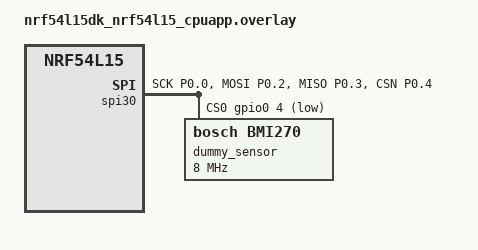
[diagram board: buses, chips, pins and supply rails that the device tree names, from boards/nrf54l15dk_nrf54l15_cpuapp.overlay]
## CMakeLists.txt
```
# SPDX-License-Identifier: Apache-2.0

cmake_minimum_required(VERSION 3.20.0)

find_package(Zephyr REQUIRED HINTS $ENV{ZEPHYR_BASE})
project(accel_power_receiver)

target_sources(app PRIVATE src/main.c src/spim_dppi.c src/sensor_none.c)
target_sources_ifdef(CONFIG_APP_ACQ_CPU app PRIVATE src/cpu_path.c)
```

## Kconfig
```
# Copyright (c) 2026
# SPDX-License-Identifier: Apache-2.0

menu "Accelerometer power test: SPI burst triggered by a data-ready pin (GPIOTE)"

config APP_DRDY_PIN
	int "Data-ready input: pin number on port P0 (GPIOTE30, LP domain)"
	default 1

config APP_BURST_LEN
	int "SPI burst length in bytes per sample"
	default 11
	range 2 64
	help
	  Generic accelerometer read: address byte, then status and the X/Y/Z data (11 bytes in total).
	  Wire time at 8 MHz: 11 x 8 / 8 MHz = 11 us, plus the chip-select timing.

choice APP_ACQ_MODE
	prompt "How the samples are acquired"
	default APP_ACQ_DPPI_DRAIN

config APP_ACQ_CPU
	bool "CPU in the loop: data-ready interrupt -> thread -> SPI transfer per sample"
	help
	  The conventional design. Every data-ready edge raises a GPIOTE interrupt, which
	  wakes a thread that runs one SPI transfer, sleeps until it ends and queues the burst.

config APP_ACQ_DPPI_PERSAMPLE
	bool "DPPI start, one SPIM END interrupt per sample"
	select APP_PER_SAMPLE_IRQ
	help
	  data-ready (GPIOTE IN) -> DPPI -> SPIM START with EasyDMA. The core wakes once
	  per sample, only to copy the burst into the queue.

config APP_ACQ_DPPI_DRAIN
	bool "DPPI start, EasyDMA ring, drained every APP_DRAIN_PERIOD_US"
	help
	  data-ready (GPIOTE IN) -> DPPI -> SPIM START, bursts land in a ring on their own and
	  a thread moves them to the queue in batches. The core wakes once per drain period.

endchoice

config APP_PER_SAMPLE_IRQ
	bool

config APP_DRAIN_PERIOD_US
	int "Drain period in microseconds"
	default 20000
	range 100 1000000
	help
	  A thread wakes up every period, reads the EasyDMA pointer and pushes the slots that
	  arrived into the message queue; once per lap it also arms the ring wrap.

config APP_RING_SLOTS
	int "Ring size in samples"
	default 4096
	range 8 4096
	help
	  The wrap is armed once the DMA is past half of the ring, so the ring must hold at
	  least two drain periods of samples (ring >= 2 x rate x period).

config APP_WRAP_AWAKE_BELOW_US
	int "Wait awake for the wrap when the sample period is below this (us)"
	default 64
	range 0 10000
	depends on !APP_PER_SAMPLE_IRQ && !APP_ACQ_CPU

config APP_QUEUE_DEPTH
	int "Message queue depth in samples"
	default 7000
	help
	  Must hold one report period of samples (rate x APP_REPORT_PERIOD_MS).

config APP_QUEUE_FRESH_ONLY
	bool "Drop repeated samples before queueing"
	default n

config APP_SPI_FREQ_HZ
	int "SPIM clock frequency in Hz"
	default 8000000
	help
	  SPIM30 has a 16 MHz core and a prescaler of 2 or more, so 8 MHz is its maximum.

config APP_SPI_CSN_DURATION
	int "IFTIMING.CSNDUR: CSN-to-SCK delay and CSN inactive time, in 64 MHz clock cycles (15.625 ns)"
	default 2
	range 1 255

config APP_SPI_RX_DELAY
	int "IFTIMING.RXDELAY: MISO sample delay (-1 = driver default)"
	default 1
	range -1 7

config APP_WRAP_ON_STARTED
	bool "Arm the wrap on SPIM STARTED instead of DMA.RX.READY on nRF54L"
	default n

config APP_RRAM_STANDBY
	bool "Keep the RRAM in standby instead of power-down during idle (nRF54L)"
	depends on HAS_HW_NRF_RRAMC
	default n

config APP_WRAP_LATENCY_STATS
	bool "Measure the delivering ISR latency (unused here)"
	default n

config APP_REQUEST_HFXO
	bool "Request the HFXO"
	default n
	depends on CLOCK_CONTROL_NRF
	help
	  Off: the request is never released, so the crystal would burn current in every mode.

config APP_CSNDUR_SWEEP
	string "Comma-separated CSNDUR values to sweep at run time (empty = no sweep)"
	default ""
	help
	  Each value is applied for APP_CSNDUR_WINDOW_MS and one summary line is logged:
	  queued bursts, bursts that did not match the slave pattern, and the window length.

config APP_CSNDUR_WINDOW_MS
	int "Sweep window in milliseconds"
	default 6000

config APP_REPORT_PERIOD_MS
	int "Report period in milliseconds"
	default 100

endmenu

source "Kconfig.zephyr"
```

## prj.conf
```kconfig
CONFIG_GPIO=y
CONFIG_PINCTRL=y
CONFIG_LOG=y
CONFIG_CBPRINTF_FP_SUPPORT=y

# nrfx 4.0 (NCS 3.4.x): per-driver symbols only; instances come from devicetree
CONFIG_NRFX_SPIM=y
CONFIG_NRFX_GPIOTE=y
CONFIG_NRFX_GPPI=y

# The SPI bus is driven directly with nrfx: keep the Zephyr SPI and sensor drivers away from it.
CONFIG_SPI=n
CONFIG_SENSOR=n
CONFIG_I2C=n
CONFIG_MAIN_STACK_SIZE=4096

# Log over SEGGER RTT; no UART, so the log adds no current of its own
CONFIG_SERIAL=n
CONFIG_CONSOLE=y
CONFIG_USE_SEGGER_RTT=y
CONFIG_RTT_CONSOLE=y
CONFIG_UART_CONSOLE=n
CONFIG_LOG_BACKEND_RTT=y
CONFIG_LOG_BACKEND_RTT_MODE_DROP=y
CONFIG_SEGGER_RTT_BUFFER_SIZE_UP=4096
CONFIG_LOG_MODE_IMMEDIATE=y
```

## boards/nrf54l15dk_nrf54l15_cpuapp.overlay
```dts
/*
 * nRF54L15 DK. The data-ready pulse comes from an external rig on P0.01; an SPI slave can be
 * connected to the SPIM30 pins below (without one, MISO reads zero).
 * SPIM30 (LP domain, port P0) clocks the burst: SCK P0.00, MOSI P0.02, MISO P0.03 (pulled
 * down), CSN P0.04. The data-ready input P0.01 uses GPIOTE30, also in the LP domain, so
 * nothing from the PERI domain is needed. P0.00..P0.03 are the VCOM1 (UART30) pins of this
 * DK and P0.04 is button 3: the UART is turned off here.
 */
/ {
	chosen {
		app,accel = &dummy_sensor;
	};
};

&pinctrl {
	spi30_default: spi30_default {
		group1 {
			psels = <NRF_PSEL(SPIM_SCK, 0, 0)>,
				<NRF_PSEL(SPIM_MOSI, 0, 2)>,
				<NRF_PSEL(SPIM_MISO, 0, 3)>,
				<NRF_PSEL(SPIM_CSN, 0, 4)>;
			bias-pull-down;
		};
	};

	spi30_sleep: spi30_sleep {
		group1 {
			psels = <NRF_PSEL(SPIM_SCK, 0, 0)>,
				<NRF_PSEL(SPIM_MOSI, 0, 2)>,
				<NRF_PSEL(SPIM_MISO, 0, 3)>,
				<NRF_PSEL(SPIM_CSN, 0, 4)>;
			bias-pull-down;
			low-power-enable;
		};
	};
};

&uart30 {
	status = "disabled";
};

&spi30 {
	status = "okay";
	pinctrl-0 = <&spi30_default>;
	pinctrl-1 = <&spi30_sleep>;
	pinctrl-names = "default", "sleep";
	cs-gpios = <&gpio0 4 GPIO_ACTIVE_LOW>;

	dummy_sensor: dummy_sensor@0 {
		compatible = "bosch,bmi270";
		reg = <0>;
		spi-max-frequency = <DT_FREQ_M(8)>;
	};
};
```

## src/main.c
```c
/*
 * 04-cpu-vs-dppi - the same SPI burst at the same rate, acquired three ways:
 *
 *   APP_ACQ_CPU               GPIOTE interrupt -> thread -> SPI transfer, per sample
 *   APP_ACQ_DPPI_PERSAMPLE    GPIOTE IN -> DPPI -> SPIM START, EasyDMA, one END
 *                             interrupt per sample
 *   APP_ACQ_DPPI_DRAIN        GPIOTE IN -> DPPI -> SPIM START, EasyDMA ring,
 *                             a thread drains it every APP_DRAIN_PERIOD_US
 *
 * Measure the current of each build with the PPK2 and compare. The consumer
 * below sleeps for the whole report period and then empties the queue, so it
 * adds the same small cost in every mode and does not hide the difference.
 *
 * The sample rate is set from outside: an external rig raises the
 * data-ready pin P0.01 once per sample, like the INT pin of an accelerometer. Engine from
 * dppi_works/timer_dppi_spim (nRF Connect SDK v3.4.1).
 */
#include <zephyr/kernel.h>
#include <zephyr/logging/log.h>

#include <stdlib.h>
#include <string.h>

#include "sensor.h"
#include "spim_dppi.h"
#if defined(CONFIG_APP_ACQ_CPU)
#include "cpu_path.h"
#endif

LOG_MODULE_REGISTER(app, LOG_LEVEL_INF);

#if defined(CONFIG_APP_ACQ_CPU)
#define MODE_NAME "CPU in the loop (GPIOTE interrupt + thread + SPI transfer)"
#elif defined(CONFIG_APP_ACQ_DPPI_PERSAMPLE)
#define MODE_NAME "DPPI, one END interrupt per sample"
#else
#define MODE_NAME "DPPI, EasyDMA ring drained in batches"
#endif

static uint32_t xfers(void)
{
#if defined(CONFIG_APP_ACQ_CPU)
	return cpu_path_xfers();
#else
	return spim_dppi_total_xfers();
#endif
}

static uint32_t dropped(void)
{
#if defined(CONFIG_APP_ACQ_CPU)
	return cpu_path_dropped();
#else
	return spim_dppi_dropped();
#endif
}

int main(void)
{
	uint8_t raw[SENSOR_BURST_LEN];
	struct sensor_sample s;
	uint32_t elapsed_ms = 0, last_xfers = 0;
	int err;

	LOG_INF("05-accel-dppi-power: %s, data-ready P0.%02d, burst %u B, SPI %u Hz", MODE_NAME,
		CONFIG_APP_DRDY_PIN, SENSOR_BURST_LEN, CONFIG_APP_SPI_FREQ_HZ);

	err = spim_dppi_init();
	if (err) {
		LOG_ERR("init failed (%d)", err);
		return err;
	}
#if defined(CONFIG_APP_ACQ_CPU)
	err = cpu_path_start();
#else
	err = spim_dppi_start();
#endif
	if (err) {
		LOG_ERR("start failed (%d)", err);
		return err;
	}

#if defined(CONFIG_APP_CSNDUR_SWEEP)
	static char sweep_list[] = CONFIG_APP_CSNDUR_SWEEP;
	char *sweep_save = NULL;
	char *tok = strtok_r(sweep_list, ",", &sweep_save);
	uint32_t csndur = tok ? strtoul(tok, NULL, 10) : 0;
	uint32_t win_ms = 0, win_q = 0, win_bad0 = sensor_bad_count();

	if (tok) {
		spim_dppi_set_csndur(csndur);
	}
#endif

	while (1) {
		uint32_t n = 0, fresh = 0;
		int16_t zmin = INT16_MAX, zmax = INT16_MIN;

		k_msleep(CONFIG_APP_REPORT_PERIOD_MS);
		elapsed_ms += CONFIG_APP_REPORT_PERIOD_MS;
		while (k_msgq_get(&sample_q, raw, K_NO_WAIT) == 0) {
			sensor->decode(raw, &s);
			n++;
			fresh += s.fresh;
			zmin = MIN(zmin, s.z);
			zmax = MAX(zmax, s.z);
		}
		uint32_t x = xfers();

		LOG_INF("t=%u ms xfers/s=%u queued=%u fresh=%u dropped=%u Z raw min=%d max=%d bad=%u",
			elapsed_ms, (x - last_xfers) * 1000 / CONFIG_APP_REPORT_PERIOD_MS,
			n, fresh, dropped(), n ? zmin : 0, n ? zmax : 0, sensor_bad_count());
		last_xfers = x;
#if defined(CONFIG_APP_CSNDUR_SWEEP)
		win_ms += CONFIG_APP_REPORT_PERIOD_MS;
		win_q += n;
		if (tok && win_ms >= CONFIG_APP_CSNDUR_WINDOW_MS) {
			LOG_INF("SWEEP csndur=%u (%u ns) window_ms=%u queued=%u bad=%u", csndur,
				csndur * 1000 / 16, win_ms, win_q, sensor_bad_count() - win_bad0);
			win_ms = 0;
			win_q = 0;
			win_bad0 = sensor_bad_count();
			tok = strtok_r(NULL, ",", &sweep_save);
			if (tok) {
				csndur = strtoul(tok, NULL, 10);
				spim_dppi_set_csndur(csndur);
			} else {
				LOG_INF("SWEEP done");
			}
		}
#endif
	}
	return 0;
}
```

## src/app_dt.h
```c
/*
 * Everything board specific comes from the devicetree, through chosen nodes
 * set by the board overlay:
 *   app,accel          the accelerometer node on its SPI bus (cs-gpios on the
 *                      bus = hardware CSN pin)
 */
#ifndef APP_DT_H_
#define APP_DT_H_

#include <zephyr/devicetree.h>
#include <zephyr/dt-bindings/gpio/gpio.h>

#define ACCEL_NODE      DT_CHOSEN(app_accel)
#define BUS_NODE        DT_BUS(ACCEL_NODE)

BUILD_ASSERT(DT_NODE_EXISTS(ACCEL_NODE), "chosen app,accel is missing in the board overlay");
BUILD_ASSERT(DT_NODE_HAS_PROP(BUS_NODE, cs_gpios), "the SPI bus needs cs-gpios (hardware CSN pin)");

/* Absolute nRF pin number (port * 32 + pin) of a gpio phandle-array entry */
#define NRF_PIN_ABS(node, prop) \
	(DT_PROP(DT_GPIO_CTLR(node, prop), port) * 32 + DT_GPIO_PIN(node, prop))

#define CS_PIN_ABS NRF_PIN_ABS(BUS_NODE, cs_gpios)

#endif /* APP_DT_H_ */
```

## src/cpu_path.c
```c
#include <string.h>

#include <zephyr/kernel.h>
#include <zephyr/drivers/gpio.h>
#include <zephyr/logging/log.h>

#include "cpu_path.h"
#include "sensor.h"
#include "spim_dppi.h"

LOG_MODULE_REGISTER(cpu_path, LOG_LEVEL_INF);

/*
 * The conventional design: the data-ready edge raises a GPIOTE interrupt (the Zephyr GPIO
 * driver allocates a GPIOTE30 IN channel for it), the callback wakes a thread, the thread
 * runs one SPI transfer and queues the burst. Same SPIM, pins and queue as the DPPI paths;
 * only the CPU is in the loop.
 */
static const struct device *const gpio = DEVICE_DT_GET(DT_NODELABEL(gpio0));
static struct gpio_callback cb;
static K_SEM_DEFINE(tick_sem, 0, 1);
/* EasyDMA reads the TX bytes from RAM, so the backend's flash copy is not usable */
static uint8_t tx[8];
static uint32_t xfers, dropped;

static void drdy_cb(const struct device *dev, struct gpio_callback *c, uint32_t pins)
{
	ARG_UNUSED(dev);
	ARG_UNUSED(c);
	ARG_UNUSED(pins);
	k_sem_give(&tick_sem);
}

static void cpu_thread(void *a, void *b, void *c)
{
	uint8_t rx[SENSOR_BURST_LEN];

	ARG_UNUSED(a); ARG_UNUSED(b); ARG_UNUSED(c);
	while (1) {
		k_sem_take(&tick_sem, K_FOREVER);
		if (spim_xfer_blocking(tx, sensor->burst_tx_len, rx, sizeof(rx)) != 0) {
			continue;
		}
		xfers++;
		if (k_msgq_put(&sample_q, rx, K_NO_WAIT) != 0) {
			dropped++;
		}
	}
}

/* Cooperative priority, like the DPPI drain thread: the comparison is about
 * how often the core wakes, not about scheduling */
K_THREAD_DEFINE(cpu_tid, 1024, cpu_thread, NULL, NULL, NULL, -1, 0, 0);

int cpu_path_start(void)
{
	int err;

	if (sensor->burst_tx_len > sizeof(tx) || !device_is_ready(gpio)) {
		return -EINVAL;
	}
	memcpy(tx, sensor->burst_tx, sensor->burst_tx_len);
	err = gpio_pin_configure(gpio, CONFIG_APP_DRDY_PIN, GPIO_INPUT | GPIO_PULL_DOWN);
	if (err) {
		return err;
	}
	gpio_init_callback(&cb, drdy_cb, BIT(CONFIG_APP_DRDY_PIN));
	gpio_add_callback(gpio, &cb);
	err = gpio_pin_interrupt_configure(gpio, CONFIG_APP_DRDY_PIN, GPIO_INT_EDGE_RISING);
	LOG_INF("CPU path: GPIOTE interrupt on P0.%02d -> thread -> SPI transfer", CONFIG_APP_DRDY_PIN);
	return err;
}

uint32_t cpu_path_xfers(void)
{
	return xfers;
}

uint32_t cpu_path_dropped(void)
{
	return dropped;
}
```

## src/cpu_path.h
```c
/*
 * Conventional acquisition for the comparison: the data-ready edge interrupts the CPU; it wakes a
 * thread, which runs one SPI transfer and queues the
 * burst. Same SPIM, same pins, same queue as the DPPI paths; only the CPU is
 * in the loop.
 */
#ifndef CPU_PATH_H_
#define CPU_PATH_H_

#include <stdint.h>

/* Arm the data-ready interrupt (after spim_dppi_init) */
int cpu_path_start(void);

/* Transfers completed and samples that did not fit in the queue */
uint32_t cpu_path_xfers(void);
uint32_t cpu_path_dropped(void);

#endif /* CPU_PATH_H_ */
```

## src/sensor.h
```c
/*
 * Minimal accelerometer backend interface. A backend only knows how to
 * configure its sensor over SPI (blocking transfers, at init) and how to
 * describe/decode the burst read that the hardware repeats afterwards.
 */
#ifndef SENSOR_H_
#define SENSOR_H_

#include <stdbool.h>
#include <stddef.h>
#include <stdint.h>

/* Length of one burst transaction (bytes clocked = bytes received) */
#define SENSOR_BURST_LEN CONFIG_APP_BURST_LEN   /* generic accelerometer burst: status + X/Y/Z, 11 bytes */

struct sensor_sample {
	int16_t x, y, z;   /* raw counts */
	bool fresh;        /* data-ready bit was set in this burst */
};

struct sensor_ops {
	const char *name;
	/* Full sensor bring-up over blocking SPI transfers; returns errno */
	int (*init)(void);
	/* Route data-ready to the interrupt pin used by the trigger */
	int (*enable_drdy_int)(void);
	/* Burst read descriptor: TX prefix and total transaction length */
	const uint8_t *burst_tx;
	size_t burst_tx_len;
	/* Decode one received burst into a sample */
	void (*decode)(const uint8_t *rx, struct sensor_sample *out);
	/* Data-ready bit inside the raw burst (for the ISR-side filter) */
	uint8_t fresh_offset;
	uint8_t fresh_mask;
	/* Scale of the raw counts, in mg per LSB (for the report) */
	float mg_per_lsb;
};

extern const struct sensor_ops *const sensor;

/* Effective ODR after rounding APP_SENSOR_ODR_HZ, in Hz x10 (keeps 12.5) */
uint16_t sensor_odr_hz_x10(void);

/* Bursts that did not match the slave pattern (none backend only) */
uint32_t sensor_bad_count(void);

/* Blocking SPI helpers provided by spim_dppi.c for the backends' init code */
int spim_xfer_blocking(const uint8_t *tx, size_t tx_len, uint8_t *rx, size_t rx_len);

#endif /* SENSOR_H_ */
```

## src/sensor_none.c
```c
/*
 * "No sensor" backend (nRF54L15 DK). The SPIM still clocks the same burst on SCK/MOSI/MISO/CSN, so the SoC does exactly the work it does with
 * a real sensor; MISO is pulled down, every burst reads back zeros. What this
 * measures is the cost of the acquisition mechanism, not of any sensor.
 */
#include <zephyr/sys/util.h>

#include <zephyr/logging/log.h>

#include "sensor.h"

LOG_MODULE_REGISTER(sensor_none, LOG_LEVEL_INF);

static const uint8_t burst_tx[1] = { 0x23 };   /* read command, MSB 0: not hit by the nRF54L SPIM errata 8 */

static int none_init(void)
{
	return 0;
}

static int none_enable_drdy_int(void)
{
	return 0;
}

/* The external SPI slave rig (not part of this repo) sends 0xC0 + index. Count bursts that differ from
 * it: a slave that was not ready answers 0xEE, a noisy 8 MHz wire flips bits. */
static uint32_t bad;
static uint32_t seen;

uint32_t sensor_bad_count(void)
{
	return bad;
}

static void none_decode(const uint8_t *rx, struct sensor_sample *out)
{
	/* Sample one burst per 500 so the raw bytes show up in the log at any rate. */
	if ((seen++ % 500) == 0) {
		LOG_INF("raw burst: %02x %02x %02x %02x %02x %02x %02x %02x %02x %02x %02x",
			rx[0], rx[1], rx[2], rx[3], rx[4], rx[5], rx[6], rx[7], rx[8],
			rx[9], rx[10]);
	}
	for (int i = 0; i < SENSOR_BURST_LEN && i < 32; i++) {
		if (rx[i] != (uint8_t)(0xC0 + i)) {
			if (bad < 5) {
				LOG_INF("bad burst: %02x %02x %02x %02x %02x %02x %02x %02x %02x %02x %02x",
					rx[0], rx[1], rx[2], rx[3], rx[4], rx[5], rx[6], rx[7], rx[8],
					rx[9], rx[10]);
			}
			bad++;
			break;
		}
	}
	out->x = out->y = out->z = 0;
	out->fresh = true;
}

static struct sensor_ops ops = {
	.name = "no sensor",
	.init = none_init,
	.enable_drdy_int = none_enable_drdy_int,
	.burst_tx = burst_tx,
	.burst_tx_len = sizeof(burst_tx),
	.decode = none_decode,
	.fresh_offset = 2,
	.fresh_mask = 0x80,
	.mg_per_lsb = 2000.0f / 32768.0f,
};

const struct sensor_ops *const sensor = &ops;

uint16_t sensor_odr_hz_x10(void)
{
	return 0;
}
```

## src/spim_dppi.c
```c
#include <string.h>
#include <errno.h>

#include <zephyr/kernel.h>
#include <zephyr/irq.h>
#include <zephyr/logging/log.h>
#include <zephyr/drivers/pinctrl.h>
#if defined(CONFIG_APP_REQUEST_HFXO)
#include <zephyr/drivers/clock_control/nrf_clock_control.h>
#include <zephyr/sys/onoff.h>
#endif

#include <nrfx_spim.h>
#include <nrfx_gpiote.h>
#if defined(CONFIG_APP_RRAM_STANDBY)
#include <hal/nrf_rramc.h>
#endif
#include <helpers/nrfx_gppi.h>
#include <hal/nrf_spim.h>
#include <hal/nrf_gpio.h>

#include "app_dt.h"
#include "sensor.h"
#include "spim_dppi.h"

LOG_MODULE_REGISTER(spim_dppi, LOG_LEVEL_INF);

/* Not a Kconfig symbol in CPU mode, where the drain code below is not used */
#ifndef CONFIG_APP_WRAP_AWAKE_BELOW_US
#define CONFIG_APP_WRAP_AWAKE_BELOW_US 0
#endif

/* ---- Instances from the devicetree ------------------------------------ */

static nrfx_spim_t spim = NRFX_SPIM_INSTANCE(DT_REG_ADDR(BUS_NODE));
PINCTRL_DT_DEFINE(BUS_NODE);

/* Trigger: the data-ready pin. A GPIOTE IN event (rising edge) starts every transaction
 * through the DPPI; the CPU is not involved. GPIOTE30 (P0) is in the LP domain, like SPIM30. */
static nrfx_gpiote_t gpiote = NRFX_GPIOTE_INSTANCE(DT_REG_ADDR(DT_NODELABEL(gpiote30)));

/* Event after which the .PTR register may be rewritten for the next transfer:
 * DMA.RX.READY on nRF54L ("EasyDMA has buffered the .PTR and .MAXCNT
 * registers"), STARTED on nRF53/52 ("can be updated immediately after having
 * received the STARTED event"). nrfx names the former RXSTARTED. */
#if NRF_SPIM_HAS_DMA_REG && !defined(CONFIG_APP_WRAP_ON_STARTED)
#define READY_EVENT      NRF_SPIM_EVENT_RXSTARTED
#define READY_INT_MASK   NRF_SPIM_INT_RXREADY_MASK
#define READY_EVENT_NAME "DMA.RX.READY"
#else
#define READY_EVENT      NRF_SPIM_EVENT_STARTED
#define READY_INT_MASK   NRF_SPIM_INT_STARTED_MASK
#define READY_EVENT_NAME "STARTED"
#endif

/* ---- Ring ---------------------------------------------------------------- */

/*
 * The EasyDMA array list writes one burst per transaction into consecutive
 * slots of the ring, on its own. Two ways to move the slots into the message
 * queue:
 *  - time-drained (default): a thread wakes up every APP_DRAIN_PERIOD_US,
 *    reads the DMA pointer, pushes the slots that arrived (except the one
 *    that may still be in flight) and, once the DMA is past half of the
 *    ring, arms the wrap;
 *  - per-sample (APP_PER_SAMPLE_IRQ): one buffer instead of the ring; the
 *    SPIM END interrupt copies each burst into the queue as soon as its
 *    transaction has ended. One interrupt per sample, no drain, no wrap.
 * The wrap (time-drained only) is the READY interrupt, enabled once,
 * rewriting the pointer to slot 0 inside the window the datasheet allows
 * (right after READY/STARTED, before the next START).
 *
 * GUARD slots follow the ring so that a drain that runs late overflows into
 * unused memory (counted as overflow) instead of whatever follows the array.
 */
#if defined(CONFIG_APP_PER_SAMPLE_IRQ)
#define RING_SLOTS  1          /* one buffer, see below */
#define GUARD_SLOTS 0
#else
#define RING_SLOTS  CONFIG_APP_RING_SLOTS
#define GUARD_SLOTS 8
#endif
/* The wrap is armed once the DMA is this far into the ring, so the slots of
 * the old lap still to be delivered are at least half a ring ahead of the
 * new lap. Hence the sizing rule: ring >= 2 x rate x drain period. */
#define WRAP_MIN_HEAD (RING_SLOTS / 2)

K_MSGQ_DEFINE(sample_q, SENSOR_BURST_LEN, CONFIG_APP_QUEUE_DEPTH, 1);

static uint8_t ring[RING_SLOTS + GUARD_SLOTS][SENSOR_BURST_LEN];
/* EasyDMA source: the backend's TX prefix copied to RAM (EasyDMA cannot read flash) */
static uint8_t burst_tx[SENSOR_BURST_LEN];

static uint32_t dropped;      /* samples that did not fit in the queue */
#if !defined(CONFIG_APP_PER_SAMPLE_IRQ)
static uint32_t late_wraps;   /* wraps written after the next START (at most one sample skipped each) */
static uint32_t overflows;    /* laps in which the DMA reached the guard slots */
static uint32_t lap_base;     /* transactions completed in previous laps (for xfers) */
#endif
#if defined(CONFIG_APP_QUEUE_FRESH_ONLY)
static uint32_t skipped;      /* repeated samples dropped by the fresh filter */
#endif
#if defined(CONFIG_APP_WRAP_LATENCY_STATS)
/* Trigger-timer ticks (16 MHz) from the trigger COMPARE to the delivering ISR */
static uint32_t lat_min = UINT32_MAX, lat_max, lat_sum, lat_n;
#endif

/* Delivery state, only touched by the drain thread (or the END ISR) and the
 * wrap ISR */
#if !defined(CONFIG_APP_PER_SAMPLE_IRQ)
static uint32_t tail;              /* next slot to deliver */
static bool in_guard;              /* the DMA is past the ring end (overflow counted) */
static volatile bool wrap_armed;   /* READY interrupt enabled, waiting to rewrite PTR */
static volatile bool wrap_done;    /* ISR wrote PTR = ring[0] */
static volatile uint32_t wrap_last;/* last slot of the lap that ended with that wrap */

static inline uint32_t rx_ptr_get(void)
{
#if NRF_SPIM_HAS_DMA_REG
	return spim.p_reg->DMA.RX.PTR;
#else
	return spim.p_reg->RXD.PTR;
#endif
}

/* Index of the slot the DMA will write next (the one before may be in flight) */
static inline uint32_t head_index(void)
{
	return (rx_ptr_get() - (uint32_t)ring[0]) / SENSOR_BURST_LEN;
}
#endif

#define latency_record() do { } while (0)

/* ---- Blocking SPI for sensor configuration ----------------------------- */

static K_SEM_DEFINE(xfer_done, 0, 1);
static bool blocking_phase = true;

static void spim_evt_handler(nrfx_spim_event_t const *p_event, void *p_context)
{
	ARG_UNUSED(p_context);
	if (p_event->type == NRFX_SPIM_EVENT_DONE) {
		k_sem_give(&xfer_done);
	}
}

#if !defined(CONFIG_APP_PER_SAMPLE_IRQ)
/*
 * Wrap ISR: READY of transaction k just fired, the register already points
 * at slot k+1. Point it at slot 0 instead, so transaction k+1 writes slot 0.
 * If a START sneaks in between the clear and the write, transaction k+1 had
 * already latched slot k+1 (in the ring or in the guard) and slot 0 goes to
 * k+2. wrap_last = h-1 with h read after the clear: if the START came before
 * that read, slot k+1 is delivered; if after, it is skipped (one sample
 * lost). Stale data is never delivered. late_wraps counts both cases, so it
 * is an upper bound of the samples lost this way.
 */
static __maybe_unused void wrap_isr(void)
{
	uint32_t h, h2;
	bool started;

#if defined(CONFIG_APP_WRAP_LATENCY_STATS) && !defined(CONFIG_APP_PER_SAMPLE_IRQ)
	latency_record();
#endif
	nrf_spim_int_disable(spim.p_reg, READY_INT_MASK);
	nrf_spim_event_clear(spim.p_reg, READY_EVENT);
	h = head_index();                                   /* k + 1 */
	nrf_spim_rx_buffer_set(spim.p_reg, ring[0], SENSOR_BURST_LEN);
	started = nrf_spim_event_check(spim.p_reg, READY_EVENT);
	h2 = head_index();
	if (started && h2 == 0) {
		late_wraps++;      /* transaction k+1 took slot h: delivered or skipped, see above */
	}
	wrap_last = h - 1;
	wrap_armed = false;
	wrap_done = true;
}

/* Enable the READY interrupt once the DMA is deep enough into the ring */
static __maybe_unused bool arm_wrap(uint32_t h)
{
	if (wrap_armed || wrap_done || h < WRAP_MIN_HEAD) {
		return false;
	}
	wrap_armed = true;
	nrf_spim_event_clear(spim.p_reg, READY_EVENT);
	nrf_spim_int_enable(spim.p_reg, READY_INT_MASK);
	return true;
}

static __maybe_unused void deliver(uint32_t from, uint32_t to)
{
	to = MIN(to, RING_SLOTS + GUARD_SLOTS);
	for (uint32_t i = from; i < to; i++) {
#if defined(CONFIG_APP_QUEUE_FRESH_ONLY)
		/* TIMER faster than the ODR re-reads the previous sample: the
		 * data-ready bit in the burst's STATUS byte tells them apart */
		if ((ring[i][sensor->fresh_offset] & sensor->fresh_mask) == 0) {
			skipped++;
			continue;
		}
#endif
		if (k_msgq_put(&sample_q, ring[i], K_NO_WAIT) != 0) {
			dropped++;
		}
	}
}

static __maybe_unused void overflow_check(uint32_t h)
{
	if (h > RING_SLOTS) {
		if (!in_guard) {
			in_guard = true;
			overflows++;
		}
	} else {
		in_guard = false;
	}
}
#endif /* !CONFIG_APP_PER_SAMPLE_IRQ */

#if defined(CONFIG_APP_PER_SAMPLE_IRQ)

/* ---- Per-sample delivery from the SPIM END interrupt -------------------- */

/*
 * One buffer, no ring, no wrap: the END ISR copies the burst into the queue
 * before the next transaction overwrites it. That holds while the sample
 * period exceeds the transaction time plus the ISR entry from idle (up to
 * ~15.5 us on the nRF54L15 M33, ~26 us on the nRF5340) plus ~2 us. A START
 * during the copy is detected (READY event set after being cleared) and the
 * sample is dropped as torn; a START before the ISR entry looks like the
 * normal one and cannot be told apart, so above that rate the data may be
 * stale: use the drain instead.
 */
static uint32_t ends;      /* END interrupts served (transactions, while not late) */
static uint32_t torn;      /* samples overwritten while being copied */

static __maybe_unused void sample_isr(void)
{
	uint8_t burst[SENSOR_BURST_LEN];

#if defined(CONFIG_APP_WRAP_LATENCY_STATS)
	latency_record();
#endif
	ends++;
	nrf_spim_event_clear(spim.p_reg, READY_EVENT);
	memcpy(burst, ring[0], SENSOR_BURST_LEN);
	if (nrf_spim_event_check(spim.p_reg, READY_EVENT)) {
		torn++;                /* the next transaction started mid-copy */
		return;
	}
#if defined(CONFIG_APP_QUEUE_FRESH_ONLY)
	if ((burst[sensor->fresh_offset] & sensor->fresh_mask) == 0) {
		skipped++;
		return;
	}
#endif
	if (k_msgq_put(&sample_q, burst, K_NO_WAIT) != 0) {
		dropped++;
	}
}

#else /* time-drained */

/* ---- Drain: ring -> message queue, then arm the wrap -------------------- */

/*
 * Called every APP_DRAIN_PERIOD_US from the drain thread. The pointer says
 * how many transactions started, not whether the newest (slot h-1) has
 * ended. At low rates (few samples per drain) that slot is worth waiting
 * for: if no new START happens within one transaction time, it is complete
 * and goes out now instead of one sample period later. At high rates the
 * remainder simply goes out on the next drain. After a wrap, the lap that
 * ended at wrap_last is finished first, then the new lap from slot 0.
 */
#define XFER_SETTLE_US (SENSOR_BURST_LEN * 8 * 1000000UL / CONFIG_APP_SPI_FREQ_HZ + 4)
#define SETTLE_MAX_PENDING 4

/* Slots certainly complete after waiting one transaction time: h if no new
 * transaction started meanwhile (slot h-1 ended), else all below the newest.
 * If the pending wrap fired during the wait the head restarted from 0: the
 * transaction that wrapped proves slot h-1 ended, and slot h itself (the
 * old lap's last, wrap_last) is handled by the next drain. */
static __maybe_unused uint32_t settled(uint32_t h)
{
	uint32_t h2;

	k_busy_wait(XFER_SETTLE_US);
	h2 = head_index();
	if (wrap_done || h2 < h) {
		return h;
	}
	return h2 == h ? h : h2 - 1;
}

/* After a wrap with head still 0: wait one transaction time, after which the
 * old lap's last slot has certainly ended; returns the head read then */
static __maybe_unused uint32_t head_settled_new_lap(void)
{
	k_busy_wait(XFER_SETTLE_US);
	return head_index();
}

static uint32_t last_drain_cyc;    /* k_cycle time of the previous drain */

static __maybe_unused void drain(void)
{
	/* wrap_done is sampled before the head: a wrap landing between the two
	 * reads yields a small new-lap head with the flag still clear, which
	 * delivers nothing this time (tail is past it) and is folded next drain */
	bool wrapped = wrap_done;
	uint32_t h = head_index();
	uint32_t now = k_cycle_get_32();
	uint32_t arrived = 0;
	uint32_t upto;

	overflow_check(h);
	if (wrapped) {
		uint32_t last = wrap_last;

		/* Everything up to and including wrap_last is complete once the new
		 * lap has started (h >= 1) or one transaction time has passed */
		if (h == 0) {
			h = head_settled_new_lap();
		}
		deliver(tail, last + 1);
		lap_base += last + 1;
		tail = 0;
		wrap_done = false;
	}
	upto = h ? h - 1 : 0;
	if (h >= 1 && h - tail <= SETTLE_MAX_PENDING) {
		upto = settled(h);
	}
	if (upto > tail) {
		arrived = upto - tail;
		deliver(tail, upto);
		tail = upto;
	}
	if (arm_wrap(h) && arrived > 0 && CONFIG_APP_WRAP_AWAKE_BELOW_US > 0 && now != last_drain_cyc) {
		/* The wrap must land before the START that follows the next READY.
		 * Waking the core from idle for that IRQ costs up to ~16.5 us on
		 * the nRF54L15 M33 (RRAM) and ~24 us on the nRF5340: when the
		 * samples are closer than that, stay awake for it instead. At low
		 * rates the IRQ path is used and the core sleeps. */
		uint32_t period_us = k_cyc_to_us_floor32(now - last_drain_cyc) / arrived;

		if (period_us < CONFIG_APP_WRAP_AWAKE_BELOW_US) {
			uint32_t limit_us = MIN(CONFIG_APP_DRAIN_PERIOD_US / 4, 8 * period_us + 8);
			uint32_t t0 = k_cycle_get_32();
			uint32_t limit = k_us_to_cyc_ceil32(limit_us);

			while (!wrap_done && (k_cycle_get_32() - t0) < limit) {
			}
		}
	}
	last_drain_cyc = now;
}

static __maybe_unused void drain_thread(void *a, void *b, void *c)
{
	ARG_UNUSED(a); ARG_UNUSED(b); ARG_UNUSED(c);
	while (1) {
		k_sleep(K_USEC(CONFIG_APP_DRAIN_PERIOD_US));
		if (!blocking_phase) {
			drain();
		}
	}
}

/* Cooperative priority: a drain is never preempted, so its delivery cannot
 * be delayed past the ring by application threads (only by ISRs) */
#if !defined(CONFIG_APP_ACQ_CPU)
K_THREAD_DEFINE(drain_tid, 1024, drain_thread, NULL, NULL, NULL, -1, 0, 0);
#endif

#endif /* CONFIG_APP_PER_SAMPLE_IRQ */

/* The SPIM IRQ belongs to the nrfx driver during the blocking phase and to
 * the wrap (and, per-sample, the END delivery) afterwards. */
static void spim_irq_wrapper(const void *arg)
{
	if (blocking_phase) {
		nrfx_spim_irq_handler((nrfx_spim_t *)arg);
		return;
	}
#if defined(CONFIG_APP_PER_SAMPLE_IRQ)
	if (nrf_spim_event_check(spim.p_reg, NRF_SPIM_EVENT_END)) {
		nrf_spim_event_clear(spim.p_reg, NRF_SPIM_EVENT_END);
		sample_isr();
	}
#else
	if (wrap_armed && nrf_spim_event_check(spim.p_reg, READY_EVENT)) {
		wrap_isr();
	}
	/* Anything else (e.g. END left enabled by the driver): silence it */
	nrf_spim_int_disable(spim.p_reg, ~READY_INT_MASK);
	nrf_spim_event_clear(spim.p_reg, NRF_SPIM_EVENT_STARTED);
	nrf_spim_event_clear(spim.p_reg, NRF_SPIM_EVENT_END);
#endif
}

int spim_xfer_blocking(const uint8_t *tx, size_t tx_len, uint8_t *rx, size_t rx_len)
{
	nrfx_spim_xfer_desc_t xfer = {
		.p_tx_buffer = tx, .tx_length = tx_len,
		.p_rx_buffer = rx, .rx_length = rx_len,
	};
	int err = nrfx_spim_xfer(&spim, &xfer, 0);

	if (err < 0) {
		LOG_ERR("nrfx_spim_xfer: %d", err);
		return err;
	}
	if (k_sem_take(&xfer_done, K_MSEC(100)) != 0) {
		LOG_ERR("SPI transfer timeout");
		return -ETIMEDOUT;
	}
	return 0;
}

#if defined(CONFIG_APP_REQUEST_HFXO)
static int hfxo_request(void)
{
	static struct onoff_client cli;
	struct onoff_manager *mgr = z_nrf_clock_control_get_onoff(CLOCK_CONTROL_NRF_SUBSYS_HF);
	int res;

	sys_notify_init_spinwait(&cli.notify);
	int err = onoff_request(mgr, &cli);

	if (err < 0) {
		return err;
	}
	while (sys_notify_fetch_result(&cli.notify, &res) == -EAGAIN) {
		k_msleep(1);
	}
	LOG_INF("HFXO running");
	return res < 0 ? res : 0;
}
#endif

/* ---- Init ---------------------------------------------------------------- */

int spim_dppi_init(void)
{
	int err;

#if defined(CONFIG_APP_RRAM_STANDBY)
	/* Fast RRAM wake-up: the ISR code lives in RRAM, and after an idle
	 * period the first fetch otherwise waits for the RRAM to power up */
	nrf_rramc_lp_mode_set(NRF_RRAMC, NRF_RRAMC_LP_STANDBY);
	LOG_INF("RRAMC low-power mode: standby");
#endif
#if defined(CONFIG_APP_REQUEST_HFXO)
	err = hfxo_request();
	if (err) {
		LOG_ERR("HFXO request failed: %d", err);
		return err;
	}
#endif

	/* Pins (SCK/MOSI/MISO/CSN) come from the bus node's pinctrl */
	err = pinctrl_apply_state(PINCTRL_DT_DEV_CONFIG_GET(BUS_NODE), PINCTRL_STATE_DEFAULT);
	if (err) {
		LOG_ERR("pinctrl_apply_state: %d", err);
		return err;
	}

	IRQ_CONNECT(DT_IRQN(BUS_NODE), DT_IRQ(BUS_NODE, priority), spim_irq_wrapper, &spim, 0);

	nrfx_spim_config_t cfg = NRFX_SPIM_DEFAULT_CONFIG(NRF_SPIM_PIN_NOT_CONNECTED,
							  NRF_SPIM_PIN_NOT_CONNECTED,
							  NRF_SPIM_PIN_NOT_CONNECTED,
							  CS_PIN_ABS);
	cfg.skip_gpio_cfg = true;   /* pinctrl did it */
	cfg.skip_psel_cfg = true;
	cfg.use_hw_ss = true;       /* CSN asserted by the SPIM around every transaction */
	cfg.ss_duration = CONFIG_APP_SPI_CSN_DURATION;
	cfg.frequency = CONFIG_APP_SPI_FREQ_HZ;
#if NRF_SPIM_HAS_RXDELAY
	if (CONFIG_APP_SPI_RX_DELAY >= 0) {
		cfg.rx_delay = CONFIG_APP_SPI_RX_DELAY;
	}
#endif

	err = nrfx_spim_init(&spim, &cfg, spim_evt_handler, NULL);
	if (err < 0) {
		LOG_ERR("nrfx_spim_init: %d", err);
		return err;
	}
	LOG_INF("SPIM @%p, hardware CSN on pin %d, %u Hz, CSNDUR %u, RXDELAY %d", spim.p_reg,
		CS_PIN_ABS, (unsigned)cfg.frequency, (unsigned)cfg.ss_duration,
#if NRF_SPIM_HAS_RXDELAY
		(int)cfg.rx_delay);
#else
		-1);
#endif


	err = sensor->init();
	if (err) {
		LOG_ERR("%s init failed: %d", sensor->name, err);
		return err;
	}
	return 0;
}

void spim_dppi_set_csndur(uint32_t cycles)
{
	nrf_spim_csn_duration_set(spim.p_reg, cycles);
}

/* ---- Statistics ---------------------------------------------------------- */

uint32_t spim_dppi_total_xfers(void)
{
#if defined(CONFIG_APP_PER_SAMPLE_IRQ)
	return ends;
#else
	/* Transactions started: previous laps plus the current head. Between the
	 * wrap ISR and its drain the head already restarted from 0, so add the
	 * finished lap that has not been folded into lap_base yet. */
	uint32_t h = head_index();

	return lap_base + h + (wrap_done ? wrap_last + 1 : 0);
#endif
}

uint32_t spim_dppi_torn(void)
{
#if defined(CONFIG_APP_PER_SAMPLE_IRQ)
	return torn;
#else
	return 0;
#endif
}

uint32_t spim_dppi_dropped(void)
{
	return dropped;
}

uint32_t spim_dppi_late_wraps(void)
{
#if defined(CONFIG_APP_PER_SAMPLE_IRQ)
	return 0;
#else
	return late_wraps;
#endif
}

uint32_t spim_dppi_overflows(void)
{
#if defined(CONFIG_APP_PER_SAMPLE_IRQ)
	return 0;
#else
	return overflows;
#endif
}

uint32_t spim_dppi_skipped(void)
{
#if defined(CONFIG_APP_QUEUE_FRESH_ONLY)
	return skipped;
#else
	return 0;
#endif
}

#if 0
bool spim_dppi_wrap_latency(uint32_t *min_ns, uint32_t *avg_ns, uint32_t *max_ns, bool reset)
{
	unsigned int key = irq_lock();
	uint32_t n = lat_n, mn = lat_min, mx = lat_max, sum = lat_sum;

	if (reset) {
		lat_min = UINT32_MAX;
		lat_max = lat_sum = lat_n = 0;
	}
	irq_unlock(key);
	if (n == 0) {
		return false;
	}
	/* 16 MHz ticks -> ns (62.5 ns each) */
	*min_ns = mn * 125 / 2;
	*max_ns = mx * 125 / 2;
	*avg_ns = (uint32_t)((uint64_t)sum * 125 / 2 / n);
	return true;
}
#endif

/* ---- Trigger (GPIOTE IN event on the data-ready pin), DPPI, start ------- */

#define DRDY_PIN NRF_GPIO_PIN_MAP(0, CONFIG_APP_DRDY_PIN)

static int trigger_init(uint32_t *eep)
{
	nrf_gpio_pin_pull_t pull = NRF_GPIO_PIN_PULLDOWN;
	uint8_t channel;
	int err;

	if (!nrfx_gpiote_init_check(&gpiote)) {
		err = nrfx_gpiote_init(&gpiote, 0);
		if (err < 0) {
			return err;
		}
	}
	err = nrfx_gpiote_channel_alloc(&gpiote, &channel);
	if (err < 0) {
		return err;
	}
	nrfx_gpiote_trigger_config_t trig = {
		.trigger = NRFX_GPIOTE_TRIGGER_LOTOHI,
		.p_in_channel = &channel,
	};
	nrfx_gpiote_input_pin_config_t in = {
		.p_pull_config = &pull,
		.p_trigger_config = &trig,
		.p_handler_config = NULL,
	};

	err = nrfx_gpiote_input_configure(&gpiote, DRDY_PIN, &in);
	if (err < 0) {
		return err;
	}
	nrfx_gpiote_trigger_enable(&gpiote, DRDY_PIN, false);   /* event only, no interrupt */
	*eep = nrfx_gpiote_in_event_address_get(&gpiote, DRDY_PIN);
	LOG_INF("trigger: GPIOTE IN event on P0.%02d (channel %u), rising edge", CONFIG_APP_DRDY_PIN, channel);
	return 0;
}

int spim_dppi_start(void)
{
	nrfx_gppi_handle_t h_start;
	uint32_t eep;
	int err;

	err = trigger_init(&eep);
	if (err) {
		LOG_ERR("trigger init: %d", err);
		return err;
	}

	/* Repeated burst: the driver sets the buffers once and steps aside */
	memcpy(burst_tx, sensor->burst_tx, sensor->burst_tx_len);
	nrfx_spim_xfer_desc_t xfer = {
		.p_tx_buffer = burst_tx, .tx_length = sensor->burst_tx_len,
		.p_rx_buffer = ring[0], .rx_length = SENSOR_BURST_LEN,
	};
	uint32_t flags = NRFX_SPIM_FLAG_HOLD_XFER | NRFX_SPIM_FLAG_REPEATED_XFER |
			 NRFX_SPIM_FLAG_NO_XFER_EVT_HANDLER;

	if (!IS_ENABLED(CONFIG_APP_PER_SAMPLE_IRQ)) {
		flags |= NRFX_SPIM_FLAG_RX_POSTINC;   /* array list: one slot per transaction */
	}
	err = nrfx_spim_xfer(&spim, &xfer, flags);
	if (err < 0) {
		LOG_ERR("arming repeated transfer: %d", err);
		return err;
	}
	/* From here on the peripheral is driven by DPPI. The driver may have left
	 * STARTED (nRF54L errata workaround) or END interrupts enabled; with
	 * nobody servicing them they would storm. */
	nrf_spim_int_disable(spim.p_reg, 0xFFFFFFFF);
	nrf_spim_event_clear(spim.p_reg, NRF_SPIM_EVENT_STARTED);
	nrf_spim_event_clear(spim.p_reg, NRF_SPIM_EVENT_END);
	nrf_spim_event_clear(spim.p_reg, READY_EVENT);
	blocking_phase = false;

	/* The only DPPI connection: trigger event -> SPIM START */
	err = nrfx_gppi_conn_alloc(eep, nrfx_spim_start_task_address_get(&spim), &h_start);
	if (err < 0) {
		return err;
	}
	nrfx_gppi_conn_enable(h_start);

#if defined(CONFIG_APP_PER_SAMPLE_IRQ)
	nrf_spim_int_enable(spim.p_reg, NRF_SPIM_INT_END_MASK);
	LOG_INF("DPPI connected, burst %u bytes, one buffer, one END interrupt per sample",
		SENSOR_BURST_LEN);
#else
	LOG_INF("DPPI connected, burst %u bytes, ring %u slots, drain every %u us, wrap on %s",
		SENSOR_BURST_LEN, RING_SLOTS, CONFIG_APP_DRAIN_PERIOD_US, READY_EVENT_NAME);
#endif
	return 0;
}
```

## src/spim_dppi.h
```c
/*
 * Hardware engine: SPIM with hardware CSN, repeated EasyDMA burst started
 * through DPPI by a TIMER COMPARE event. The bursts land in a ring (RX
 * pointer post-increment); a periodic drain thread moves them into a k_msgq
 * and, once per lap, re-arms the ring wrap on the SPIM READY IRQ.
 */
#ifndef SPIM_DPPI_H_
#define SPIM_DPPI_H_

#include <stdint.h>
#include <zephyr/kernel.h>

#include "sensor.h"

/* Bring up SPIM (pinctrl from the devicetree bus node) and the sensor */
int spim_dppi_init(void);

/* Arm the repeated burst, connect DPPI, start the trigger. Returns errno. */
int spim_dppi_start(void);

/* Total SPIM transactions started since start (finished laps + DMA pointer) */
uint32_t spim_dppi_total_xfers(void);


/* One SENSOR_BURST_LEN-byte raw burst per message, in order */
extern struct k_msgq sample_q;
/* Samples that could not be queued because the queue was full */
uint32_t spim_dppi_dropped(void);
/* Samples skipped as repeats (APP_QUEUE_FRESH_ONLY) */
uint32_t spim_dppi_skipped(void);
/* Wraps written after the next START had begun (that transaction's sample is skipped) */
uint32_t spim_dppi_late_wraps(void);
/* Laps in which the DMA reached the guard slots (ring too small for the drain period) */
uint32_t spim_dppi_overflows(void);
/* Per-sample mode: samples the next transaction overwrote during the copy (dropped) */
uint32_t spim_dppi_torn(void);

#if 0
/* Trigger COMPARE -> wrap ISR latency since the last reset; false if no sample */
bool spim_dppi_wrap_latency(uint32_t *min_ns, uint32_t *avg_ns, uint32_t *max_ns, bool reset);
#endif

/* Change IFTIMING.CSNDUR at run time (64 MHz cycles); takes effect on the next transaction */
void spim_dppi_set_csndur(uint32_t cycles);

#endif /* SPIM_DPPI_H_ */
```
